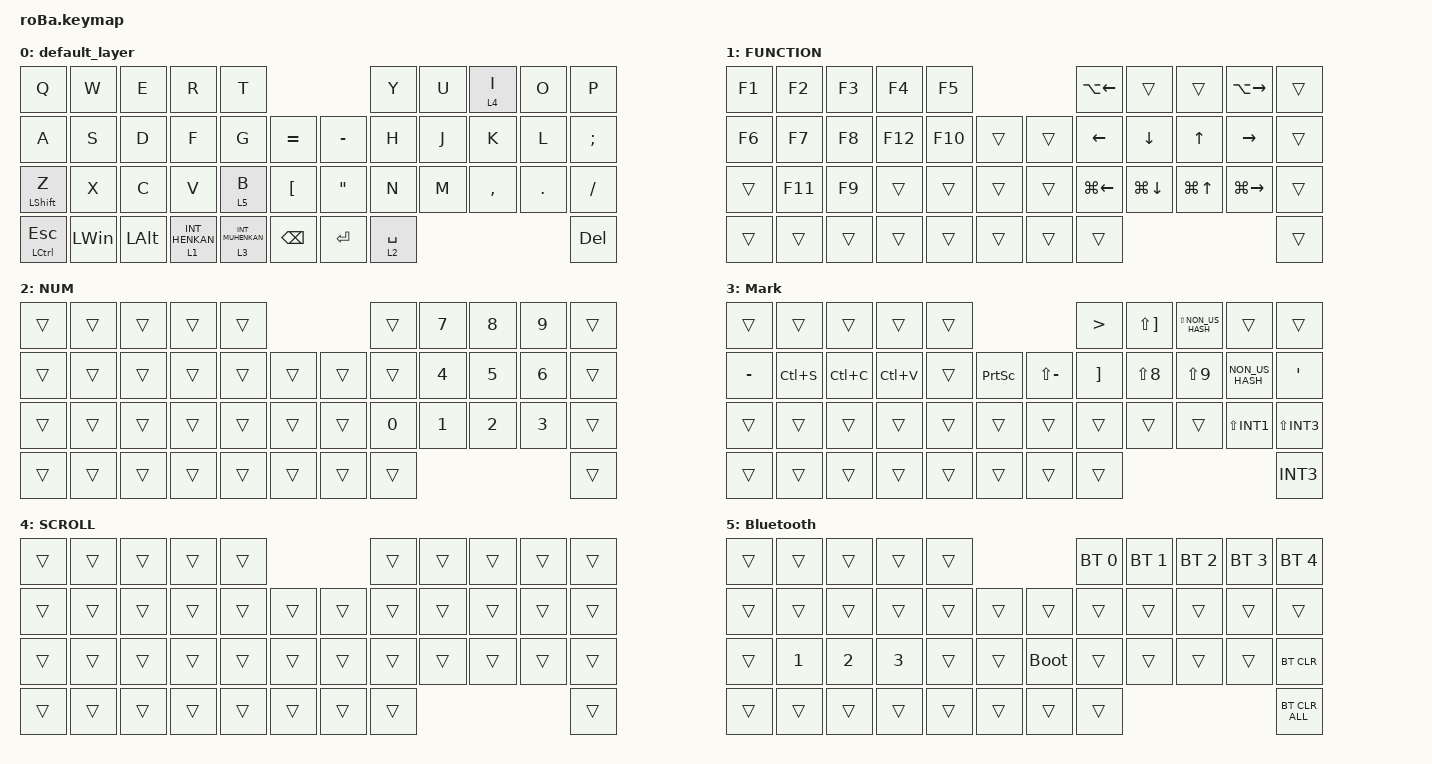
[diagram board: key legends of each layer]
#include <behaviors.dtsi>
#include <dt-bindings/zmk/bt.h>
#include <dt-bindings/zmk/keys.h>
#include <dt-bindings/zmk/pointing.h>

&mt {
    flavor = "balanced";
    quick-tap-ms = <0>;
};

&trackball {
    scroll-layers = <4>;

    // arrows {
    //     layers = <3>;
    //     bindings =
    //         <&kp RIGHT_ARROW>,
    //         <&kp LEFT_ARROW>,
    //         <&kp UP_ARROW>,
    //         <&kp DOWN_ARROW>;
    //     tick = <10>;
    //     wait-ms = <5>;
    //     tap-ms = <5>;
    // };
};

/ {
    combos {
        compatible = "zmk,combos";

        tab {
            bindings = <&kp TAB>;
            key-positions = <11 12>;
        };

        shift_tab {
            bindings = <&kp LS(TAB)>;
            key-positions = <12 13>;
        };

        left_click {
            bindings = <&mkp MB1>;
            key-positions = <22 23>; // J + K
        };

        right_click {
            bindings = <&mkp MB2>;
            key-positions = <23 24>; // K + L
        };
    };

    macros {
        to_layer_0: to_layer_0 {
            compatible = "zmk,behavior-macro-one-param";
            #binding-cells = <1>;
            bindings = <&to 0 &macro_param_1to1 &kp MACRO_PLACEHOLDER>;
            label = "TO_LAYER_0";
        };
    };

    behaviors {
        lt_to_layer_0: lt_to_layer_0 {
            compatible = "zmk,behavior-hold-tap";
            label = "LAYER_TAP_TO_0";
            bindings = <&mo>, <&to_layer_0>;

            #binding-cells = <2>;
            tapping-term-ms = <200>;
        };
    };

    keymap {
        compatible = "zmk,keymap";

        default_layer {
            bindings = <
&kp Q                 &kp W         &kp E         &kp R                        &kp T                                                                   &kp Y        &kp U  &lt 4 I    &kp O    &kp P
&kp A                 &kp S         &kp D         &kp F                        &kp G                          &kp EQUAL             &kp MINUS          &kp H        &kp J  &kp K      &kp L    &kp SEMICOLON
&mt LEFT_SHIFT Z      &kp X         &kp C         &kp V                        &lt 5 B                        &kp LEFT_BRACKET      &kp DOUBLE_QUOTES  &kp N        &kp M  &kp COMMA  &kp DOT  &kp SLASH
&mt LEFT_CONTROL ESC  &kp LEFT_WIN  &kp LEFT_ALT  &lt_to_layer_0 1 INT_HENKAN  &lt_to_layer_0 3 INT_MUHENKAN  &kp BACKSPACE         &kp ENTER          &lt 2 SPACE                             &kp DEL
            >;
        };

        FUNCTION {
            bindings = <
&kp F1  &kp F2   &kp F3  &kp F4   &kp F5                       &kp LA(LEFT)  &trans              &trans      &kp LA(RIGHT_ARROW)  &trans
&kp F6  &kp F7   &kp F8  &kp F12  &kp F10  &trans      &trans  &kp LEFT      &kp DOWN            &kp UP      &kp RIGHT            &trans
&trans  &kp F11  &kp F9  &trans   &trans   &trans      &trans  &kp LG(LEFT)  &kp LG(DOWN_ARROW)  &kp LG(UP)  &kp LG(RIGHT)        &trans
&trans  &trans   &trans  &trans   &trans   &trans      &trans  &trans                                                             &trans
            >;
        };

        NUM {
            bindings = <
&trans  &trans  &trans  &trans  &trans                      &trans  &kp N7  &kp N8  &kp N9  &trans
&trans  &trans  &trans  &trans  &trans  &trans      &trans  &trans  &kp N4  &kp N5  &kp N6  &trans
&trans  &trans  &trans  &trans  &trans  &trans      &trans  &kp N0  &kp N1  &kp N2  &kp N3  &trans
&trans  &trans  &trans  &trans  &trans  &trans      &trans  &trans                          &trans
            >;
        };

        Mark {
            bindings = <
&trans     &trans     &trans     &trans     &trans                                      &kp GT             &kp LS(RIGHT_BRACKET)  &kp LS(NON_US_HASH)  &trans           &trans
&kp MINUS  &kp LC(S)  &kp LC(C)  &kp LC(V)  &trans  &kp PRINTSCREEN      &kp LS(MINUS)  &kp RIGHT_BRACKET  &kp LS(N8)             &kp LS(N9)           &kp NON_US_HASH  &kp SQT
&trans     &trans     &trans     &trans     &trans  &trans               &trans         &trans             &trans                 &trans               &kp LS(INT1)     &kp LS(INT3)
&trans     &trans     &trans     &trans     &trans  &trans               &trans         &trans                                                                          &kp INT3
            >;
        };

        SCROLL {
            bindings = <
&trans  &trans  &trans  &trans  &trans                      &trans  &trans  &trans  &trans  &trans
&trans  &trans  &trans  &trans  &trans  &trans      &trans  &trans  &trans  &trans  &trans  &trans
&trans  &trans  &trans  &trans  &trans  &trans      &trans  &trans  &trans  &trans  &trans  &trans
&trans  &trans  &trans  &trans  &trans  &trans      &trans  &trans                          &trans
            >;
        };

        Bluetooth {
            bindings = <
&trans  &trans        &trans        &trans        &trans                           &bt BT_SEL 0  &bt BT_SEL 1  &bt BT_SEL 2  &bt BT_SEL 3  &bt BT_SEL 4
&trans  &trans        &trans        &trans        &trans  &trans      &trans       &trans        &trans        &trans        &trans        &trans
&trans  &kp NUMBER_1  &kp NUMBER_2  &kp NUMBER_3  &trans  &trans      &bootloader  &trans        &trans        &trans        &trans        &bt BT_CLR
&trans  &trans        &trans        &trans        &trans  &trans      &trans       &trans                                                  &bt BT_CLR_ALL
            >;
        };
    };
};
